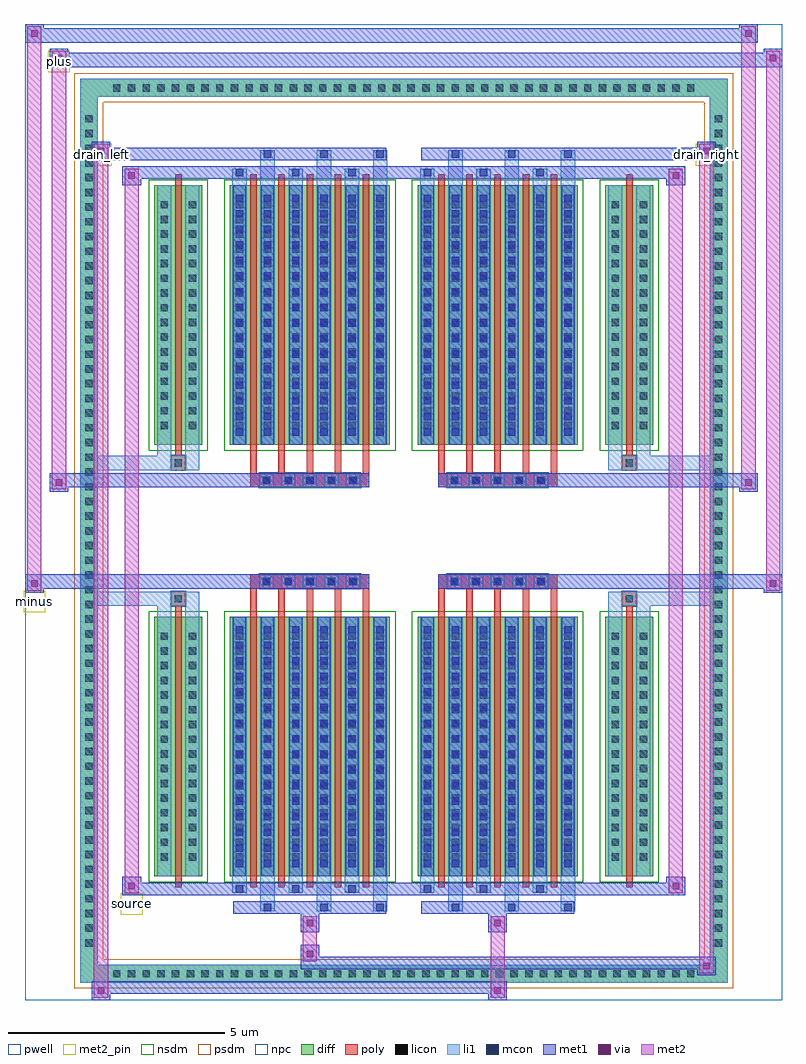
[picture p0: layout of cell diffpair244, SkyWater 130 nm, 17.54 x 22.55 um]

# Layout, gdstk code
import gdstk
lib = gdstk.Library(unit=1e-6, precision=5e-09)
def R(c, l, rs):  # rectangles x0, y0, x1, y1
    for r in rs: c.add(gdstk.rectangle(r[:2], r[2:], *l))
def A(c, l, x, y, w, h, nx, ny, dx, dy):  # array of equal rectangles
    R(c, l, [(x+i*dx, y+j*dy, x+i*dx+w, y+j*dy+h) for i in range(nx) for j in range(ny)])
def P(c, l, *ps):  # polygons
    for p in ps: c.add(gdstk.Polygon(p, *l))
pwell = (64, 44)
diff = (65, 20)
poly = (66, 20)
licon = (66, 44)
li1 = (67, 20)
mcon = (67, 44)
met1 = (68, 20)
via = (68, 44)
met2_pin = (69, 16)
met2 = (69, 20)
nsdm = (93, 44)
psdm = (94, 20)
npc = (95, 20)

diffpair244 = lib.new_cell('diffpair244')
R(diffpair244, pwell, [(-8.75,-10.84,8.75,11.71), (-6.07,-9.03,-0.01,-0.805), (0.01,-9.03,6.07,-0.805), (-6.07,0.805,-0.01,9.03), (0.01,0.805,6.07,9.03)])
A(diffpair244, diff, -6.835, -10.44, 0.41, 0.41, 40, 2, 0.34, 20.47)
A(diffpair244, diff, -7.48, -9.725, 0.41, 0.41, 1, 57, 0, 0.34)
A(diffpair244, diff, 7.07, -9.725, 0.41, 0.41, 1, 57, 0, 0.34)
R(diffpair244, diff, [(-6.835,-10.44,6.835,-10.03), (-7.48,-9.725,-7.07,9.725), (7.07,-9.725,7.48,9.725), (-5.76,-7.985,-4.66,-1.985), (-4.02,-7.985,-0.32,-1.985), (0.32,-7.985,4.02,-1.985), (4.66,-7.985,5.76,-1.985), (-5.76,1.985,-4.66,7.985), (-4.02,1.985,-0.32,7.985), (0.32,1.985,4.02,7.985), (4.66,1.985,5.76,7.985), (-6.835,10.03,6.835,10.44)])
P(diffpair244, diff, [(7.48,10.44),(-7.48,10.44),(-7.48,-10.03),(-7.07,-10.03),(-7.07,10.03),(7.07,10.03),(7.07,-10.03),(-7.07,-10.03),(-7.48,-10.03),(-7.48,-10.44),(7.48,-10.44)])
A(diffpair244, poly, -3.545, -8.235, 0.15, 6.5, 5, 2, 0.65, 9.97)
A(diffpair244, poly, 0.795, -8.235, 0.15, 6.5, 5, 2, 0.65, 9.97)
A(diffpair244, poly, -3.545, -1.735, 0.15, 0.4, 5, 2, 0.65, 3.07)
A(diffpair244, poly, 0.795, -1.735, 0.15, 0.4, 5, 2, 0.65, 3.07)
A(diffpair244, poly, -3.335, -1.335, 0.33, 0.33, 5, 2, 0.5, 2.34)
A(diffpair244, poly, 1.005, -1.335, 0.33, 0.33, 5, 2, 0.5, 2.34)
R(diffpair244, poly, [(-5.285,-8.235,-5.135,-1.735), (5.135,-8.235,5.285,-1.735), (-5.375,-1.735,-5.045,-1.405), (-5.375,-1.735,-5.045,-1.405), (5.045,-1.735,5.375,-1.405), (5.045,-1.735,5.375,-1.405), (-3.545,-1.335,-0.795,-1.005), (0.795,-1.335,3.545,-1.005), (-3.545,1.005,-0.795,1.335), (0.795,1.005,3.545,1.335), (-5.375,1.405,-5.045,1.735), (-5.375,1.405,-5.045,1.735), (5.045,1.405,5.375,1.735), (5.045,1.405,5.375,1.735), (-5.285,1.735,-5.135,8.235), (5.135,1.735,5.285,8.235)])
A(diffpair244, licon, -6.715, -10.32, 0.17, 0.17, 40, 2, 0.34, 20.47)
A(diffpair244, licon, -7.36, -9.605, 0.17, 0.17, 1, 57, 0, 0.34)
A(diffpair244, licon, 7.19, -9.605, 0.17, 0.17, 1, 57, 0, 0.34)
A(diffpair244, licon, -5.62, -7.62, 0.17, 0.17, 1, 16, 0, 0.34)
A(diffpair244, licon, -4.97, -7.62, 0.17, 0.17, 1, 16, 0, 0.34)
A(diffpair244, licon, -3.88, -7.62, 0.17, 0.17, 6, 16, 0.65, 0.34)
A(diffpair244, licon, 0.46, -7.62, 0.17, 0.17, 6, 16, 0.65, 0.34)
A(diffpair244, licon, 4.8, -7.62, 0.17, 0.17, 1, 16, 0, 0.34)
A(diffpair244, licon, 5.45, -7.62, 0.17, 0.17, 1, 16, 0, 0.34)
A(diffpair244, licon, -3.255, -1.255, 0.17, 0.17, 5, 2, 0.5, 2.34)
A(diffpair244, licon, 1.085, -1.255, 0.17, 0.17, 5, 2, 0.5, 2.34)
A(diffpair244, licon, -5.62, 2.35, 0.17, 0.17, 1, 16, 0, 0.34)
A(diffpair244, licon, -4.97, 2.35, 0.17, 0.17, 1, 16, 0, 0.34)
A(diffpair244, licon, -3.88, 2.35, 0.17, 0.17, 6, 16, 0.65, 0.34)
A(diffpair244, licon, 0.46, 2.35, 0.17, 0.17, 6, 16, 0.65, 0.34)
A(diffpair244, licon, 4.8, 2.35, 0.17, 0.17, 1, 16, 0, 0.34)
A(diffpair244, licon, 5.45, 2.35, 0.17, 0.17, 1, 16, 0, 0.34)
R(diffpair244, licon, [(-5.295,-1.655,-5.125,-1.485), (5.125,-1.655,5.295,-1.485), (-5.295,1.485,-5.125,1.655), (5.125,1.485,5.295,1.655)])
A(diffpair244, li1, -6.795, -10.4, 0.33, 0.33, 40, 2, 0.34, 20.47)
A(diffpair244, li1, -7.44, -9.685, 0.33, 0.33, 1, 57, 0, 0.34)
A(diffpair244, li1, 7.11, -9.685, 0.33, 0.33, 1, 57, 0, 0.34)
A(diffpair244, li1, -3.31, -8.79, 0.33, 0.805, 3, 2, 1.3, 16.775)
A(diffpair244, li1, -3.23, -8.79, 0.17, 0.17, 3, 2, 1.3, 17.41)
A(diffpair244, li1, 1.03, -8.79, 0.33, 0.805, 3, 2, 1.3, 16.775)
A(diffpair244, li1, 1.11, -8.79, 0.17, 0.17, 3, 2, 1.3, 17.41)
A(diffpair244, li1, -3.96, -8.36, 0.33, 0.375, 3, 2, 1.3, 16.345)
A(diffpair244, li1, -3.88, -8.36, 0.17, 0.17, 3, 2, 1.3, 16.55)
A(diffpair244, li1, 0.38, -8.36, 0.33, 0.375, 3, 2, 1.3, 16.345)
A(diffpair244, li1, 0.46, -8.36, 0.17, 0.17, 3, 2, 1.3, 16.55)
A(diffpair244, li1, -3.96, -7.985, 0.33, 6, 6, 2, 0.65, 9.97)
A(diffpair244, li1, 0.38, -7.985, 0.33, 6, 6, 2, 0.65, 9.97)
A(diffpair244, li1, -3.88, -7.77, 0.17, 0.17, 6, 16, 0.65, 0.36)
A(diffpair244, li1, -3.88, -7.77, 0.17, 5.57, 6, 2, 0.65, 9.97)
A(diffpair244, li1, 0.46, -7.77, 0.17, 0.17, 6, 16, 0.65, 0.36)
A(diffpair244, li1, 0.46, -7.77, 0.17, 5.57, 6, 2, 0.65, 9.97)
A(diffpair244, li1, -5.7, -7.7, 0.33, 0.33, 1, 16, 0, 0.34)
A(diffpair244, li1, -5.05, -7.7, 0.33, 0.33, 1, 16, 0, 0.34)
A(diffpair244, li1, -3.96, -7.7, 0.33, 0.33, 6, 16, 0.65, 0.34)
A(diffpair244, li1, 0.38, -7.7, 0.33, 0.33, 6, 16, 0.65, 0.34)
A(diffpair244, li1, 4.72, -7.7, 0.33, 0.33, 1, 16, 0, 0.34)
A(diffpair244, li1, 5.37, -7.7, 0.33, 0.33, 1, 16, 0, 0.34)
A(diffpair244, li1, -3.335, -1.335, 0.33, 0.33, 5, 2, 0.5, 2.34)
A(diffpair244, li1, 1.005, -1.335, 0.33, 0.33, 5, 2, 0.5, 2.34)
A(diffpair244, li1, -3.88, 2.2, 0.17, 0.17, 6, 16, 0.65, 0.36)
A(diffpair244, li1, 0.46, 2.2, 0.17, 0.17, 6, 16, 0.65, 0.36)
A(diffpair244, li1, -5.7, 2.27, 0.33, 0.33, 1, 16, 0, 0.34)
A(diffpair244, li1, -5.05, 2.27, 0.33, 0.33, 1, 16, 0, 0.34)
A(diffpair244, li1, -3.96, 2.27, 0.33, 0.33, 6, 16, 0.65, 0.34)
A(diffpair244, li1, 0.38, 2.27, 0.33, 0.33, 6, 16, 0.65, 0.34)
A(diffpair244, li1, 4.72, 2.27, 0.33, 0.33, 1, 16, 0, 0.34)
A(diffpair244, li1, 5.37, 2.27, 0.33, 0.33, 1, 16, 0, 0.34)
R(diffpair244, li1, [(-7.48,-10.44,-7.07,-10.03), (-7.48,-10.44,-7.07,-10.03), (-7.07,-10.44,7.07,-10.03), (7.07,-10.44,7.48,-10.03), (7.07,-10.44,7.48,-10.03), (-7.48,-10.03,-7.07,10.03), (7.07,-10.03,7.48,10.03), (-5.7,-7.985,-5.37,-1.985), (-5.05,-7.985,-4.72,-1.985), (4.72,-7.985,5.05,-1.985), (5.37,-7.985,5.7,-1.985), (-5.7,-1.985,-5.37,-1.405), (-5.05,-1.985,-4.72,-1.405), (4.72,-1.985,5.05,-1.405), (5.37,-1.985,5.7,-1.405), (-7.48,-1.735,-5.375,-1.405), (-5.7,-1.735,-5.375,-1.405), (-5.375,-1.735,-5.045,-1.405), (-5.045,-1.735,-4.72,-1.405), (4.72,-1.735,5.045,-1.405), (5.045,-1.735,5.375,-1.405), (5.045,-1.735,7.48,-1.405), (5.375,-1.735,5.7,-1.405), (-7.48,1.405,-5.375,1.735), (-5.7,1.405,-5.375,1.735), (-5.7,1.405,-5.37,1.985), (-5.375,1.405,-5.045,1.735), (-5.05,1.405,-4.72,1.985), (-5.045,1.405,-4.72,1.735), (4.72,1.405,5.045,1.735), (4.72,1.405,5.05,1.985), (5.045,1.405,5.375,1.735), (5.045,1.405,7.48,1.735), (5.37,1.405,5.7,1.985), (5.375,1.405,5.7,1.735), (-5.7,1.985,-5.37,7.985), (-5.05,1.985,-4.72,7.985), (4.72,1.985,5.05,7.985), (5.37,1.985,5.7,7.985), (-7.48,10.03,-7.07,10.44), (-7.48,10.03,-7.07,10.44), (-7.07,10.03,7.07,10.44), (7.07,10.03,7.48,10.44), (7.07,10.03,7.48,10.44)])
A(diffpair244, mcon, -3.23, -8.79, 0.17, 0.17, 3, 2, 1.3, 17.41)
A(diffpair244, mcon, 1.11, -8.79, 0.17, 0.17, 3, 2, 1.3, 17.41)
A(diffpair244, mcon, -3.88, -8.36, 0.17, 0.17, 3, 2, 1.3, 16.55)
A(diffpair244, mcon, 0.46, -8.36, 0.17, 0.17, 3, 2, 1.3, 16.55)
A(diffpair244, mcon, -3.88, -7.77, 0.17, 0.17, 6, 16, 0.65, 0.36)
A(diffpair244, mcon, 0.46, -7.77, 0.17, 0.17, 6, 16, 0.65, 0.36)
A(diffpair244, mcon, -3.255, -1.255, 0.17, 0.17, 5, 2, 0.5, 2.34)
A(diffpair244, mcon, 1.085, -1.255, 0.17, 0.17, 5, 2, 0.5, 2.34)
A(diffpair244, mcon, -3.88, 2.2, 0.17, 0.17, 6, 16, 0.65, 0.36)
A(diffpair244, mcon, 0.46, 2.2, 0.17, 0.17, 6, 16, 0.65, 0.36)
A(diffpair244, met1, -3.29, -8.85, 0.29, 0.29, 3, 2, 1.3, 17.41)
A(diffpair244, met1, 1.05, -8.85, 0.29, 0.29, 3, 2, 1.3, 17.41)
A(diffpair244, met1, -3.94, -8.42, 0.29, 0.29, 3, 2, 1.3, 16.55)
A(diffpair244, met1, 0.4, -8.42, 0.29, 0.29, 3, 2, 1.3, 16.55)
A(diffpair244, met1, -3.94, -7.985, 0.29, 6, 6, 2, 0.65, 9.97)
A(diffpair244, met1, 0.4, -7.985, 0.29, 6, 6, 2, 0.65, 9.97)
A(diffpair244, met1, -3.94, -7.83, 0.29, 0.29, 6, 16, 0.65, 0.36)
A(diffpair244, met1, 0.4, -7.83, 0.29, 0.29, 6, 16, 0.65, 0.36)
A(diffpair244, met1, -3.315, -1.315, 0.29, 0.29, 5, 2, 0.5, 2.34)
A(diffpair244, met1, 1.025, -1.315, 0.29, 0.29, 5, 2, 0.5, 2.34)
A(diffpair244, met1, -3.94, 2.14, 0.29, 0.29, 6, 16, 0.65, 0.36)
A(diffpair244, met1, 0.4, 2.14, 0.29, 0.29, 6, 16, 0.65, 0.36)
R(diffpair244, met1, [(-7.21,-10.84,-6.78,-10.41), (1.955,-10.84,2.385,-10.41), (-7.21,-10.7,2.385,-10.41), (6.78,-10.27,7.21,-9.84), (-2.385,-10.13,7.21,-9.84), (-2.385,-9.99,-1.955,-9.56), (-2.385,-9.28,-1.955,-8.85), (1.955,-9.28,2.385,-8.85), (-3.94,-8.85,-0.4,-8.56), (0.4,-8.85,3.94,-8.56), (-6.5,-8.42,-6.07,-7.99), (-6.5,-8.42,-3.94,-8.13), (-3.94,-8.42,-0.4,-8.13), (-0.4,-8.42,0.4,-8.13), (0.4,-8.42,3.94,-8.13), (3.94,-8.42,6.5,-8.13), (6.07,-8.42,6.5,-7.99), (-8.75,-1.435,-8.32,-1.005), (8.32,-1.435,8.75,-1.005), (-8.75,-1.335,-0.795,-1.005), (-3.545,-1.335,-0.795,-1.005), (0.795,-1.335,3.545,-1.005), (0.795,-1.335,8.75,-1.005), (-8.18,0.905,-7.75,1.335), (7.75,0.905,8.18,1.335), (-8.18,1.005,-3.545,1.335), (-3.545,1.005,-0.795,1.335), (0.795,1.005,3.545,1.335), (3.545,1.005,8.18,1.335), (-6.5,7.99,-6.07,8.42), (6.07,7.99,6.5,8.42), (-6.5,8.13,-3.94,8.42), (-3.94,8.13,-0.4,8.42), (-0.4,8.13,0.4,8.42), (0.4,8.13,3.94,8.42), (3.94,8.13,6.5,8.42), (-7.21,8.56,-6.78,8.99), (-7.21,8.56,-3.94,8.85), (-3.94,8.56,-0.4,8.85), (0.4,8.56,3.94,8.85), (3.94,8.56,7.21,8.85), (6.78,8.56,7.21,8.99), (-8.18,10.71,-7.75,11.14), (-8.18,10.71,-6.07,11.04), (-6.07,10.71,6.07,11.04), (6.07,10.71,8.75,11.04), (8.32,10.71,8.75,11.14), (-8.75,11.28,-8.32,11.71), (-8.75,11.28,-6.07,11.61), (-6.07,11.28,6.07,11.61), (6.07,11.28,8.18,11.61), (7.75,11.28,8.18,11.71)])
R(diffpair244, via, [(-7.07,-10.7,-6.92,-10.55), (2.095,-10.7,2.245,-10.55), (6.92,-10.13,7.07,-9.98), (-2.245,-9.85,-2.095,-9.7), (-2.245,-9.14,-2.095,-8.99), (2.095,-9.14,2.245,-8.99), (-6.36,-8.28,-6.21,-8.13), (6.21,-8.28,6.36,-8.13), (-8.61,-1.295,-8.46,-1.145), (8.46,-1.295,8.61,-1.145), (-8.04,1.045,-7.89,1.195), (7.89,1.045,8.04,1.195), (-6.36,8.13,-6.21,8.28), (6.21,8.13,6.36,8.28), (-7.07,8.7,-6.92,8.85), (6.92,8.7,7.07,8.85), (-8.04,10.85,-7.89,11), (8.46,10.85,8.61,11), (-8.61,11.42,-8.46,11.57), (7.89,11.42,8.04,11.57)])
R(diffpair244, met2_pin, [(-6.535,-8.87,-6.035,-8.37), (-8.785,-1.885,-8.285,-1.385), (-7.245,8.44,-6.745,8.94), (6.745,8.44,7.245,8.94), (-8.215,10.59,-7.715,11.09)])
R(diffpair244, met2, [(-7.16,-10.79,-6.83,-10.46), (-7.16,-10.79,-6.83,8.94), (2.005,-10.79,2.335,-10.46), (2.005,-10.46,2.335,-9.23), (6.83,-10.22,7.16,-9.89), (6.83,-10.22,7.16,8.94), (-2.335,-9.94,-2.005,-9.61), (-2.335,-9.61,-2.005,-9.23), (-2.335,-9.23,-2.005,-8.9), (2.005,-9.23,2.335,-8.9), (-6.45,-8.37,-6.12,-8.04), (-6.45,-8.37,-6.12,8.37), (6.12,-8.37,6.45,-8.04), (6.12,-8.37,6.45,8.37), (-8.7,-1.385,-8.37,-1.055), (-8.7,-1.385,-8.37,11.66), (8.37,-1.385,8.7,-1.055), (8.37,-1.385,8.7,11.09), (-8.13,0.955,-7.8,1.285), (-8.13,0.955,-7.8,11.09), (7.8,0.955,8.13,1.285), (7.8,0.955,8.13,11.66), (-6.45,8.04,-6.12,8.37), (6.12,8.04,6.45,8.37), (-7.16,8.61,-6.83,8.94), (6.83,8.61,7.16,8.94), (-8.13,10.76,-7.8,11.09), (8.37,10.76,8.7,11.09), (-8.7,11.33,-8.37,11.66), (7.8,11.33,8.13,11.66)])
P(diffpair244, met2, [(8.7,-1.385),(8.7,-1.385),(8.7,-1.055),(8.7,-1.055)],
  [(8.7,10.76),(8.7,10.76),(8.7,11.09),(8.7,11.09)],
  [(-8.37,-1.385),(-8.37,-1.385),(-8.37,-1.055),(-8.37,-1.055)],
  [(-8.37,11.33),(-8.37,11.33),(-8.37,11.66),(-8.37,11.66)],
  [(8.13,0.955),(8.13,0.955),(8.13,1.285),(8.13,1.285)],
  [(8.13,11.33),(8.13,11.33),(8.13,11.66),(8.13,11.66)],
  [(-7.8,0.955),(-7.8,0.955),(-7.8,1.285),(-7.8,1.285)],
  [(-7.8,10.76),(-7.8,10.76),(-7.8,11.09),(-7.8,11.09)],
  [(-6.83,-10.79),(-6.83,-10.79),(-6.83,-10.46),(-6.83,-10.46)],
  [(-6.83,8.61),(-6.83,8.61),(-6.83,8.94),(-6.83,8.94)],
  [(7.16,-10.22),(7.16,-10.22),(7.16,-9.89),(7.16,-9.89)],
  [(7.16,8.61),(7.16,8.61),(7.16,8.94),(7.16,8.94)],
  [(-6.12,-8.37),(-6.12,-8.37),(-6.12,-8.04),(-6.12,-8.04)],
  [(-6.12,8.04),(-6.12,8.04),(-6.12,8.37),(-6.12,8.37)],
  [(6.45,-8.37),(6.45,-8.37),(6.45,-8.04),(6.45,-8.04)],
  [(6.45,8.04),(6.45,8.04),(6.45,8.37),(6.45,8.37)])
R(diffpair244, nsdm, [(-5.89,-8.115,-4.53,-1.855), (-4.15,-8.115,-0.19,-1.855), (0.19,-8.115,4.15,-1.855), (4.53,-8.115,5.89,-1.855), (-5.89,1.855,-4.53,8.115), (-4.15,1.855,-0.19,8.115), (0.19,1.855,4.15,8.115), (4.53,1.855,5.89,8.115)])
P(diffpair244, psdm, [(7.61,10.57),(-7.61,10.57),(-7.61,-9.9),(-6.94,-9.9),(-6.94,9.9),(6.94,9.9),(6.94,-9.9),(-6.94,-9.9),(-7.61,-9.9),(-7.61,-10.57),(7.61,-10.57)])
A(diffpair244, npc, -3.355, -1.355, 0.37, 0.37, 5, 2, 0.5, 2.34)
A(diffpair244, npc, 0.985, -1.355, 0.37, 0.37, 5, 2, 0.5, 2.34)
R(diffpair244, npc, [(-5.395,-1.755,-5.025,-1.385), (5.025,-1.755,5.395,-1.385), (-3.355,-1.355,-2.485,-0.985), (-3.355,-1.355,-2.485,-0.985), (-2.855,-1.355,-1.985,-0.985), (-2.855,-1.355,-1.985,-0.985), (-2.355,-1.355,-1.485,-0.985), (-2.355,-1.355,-1.485,-0.985), (-1.855,-1.355,-0.985,-0.985), (-1.855,-1.355,-0.985,-0.985), (0.985,-1.355,1.855,-0.985), (0.985,-1.355,1.855,-0.985), (1.485,-1.355,2.355,-0.985), (1.485,-1.355,2.355,-0.985), (1.985,-1.355,2.855,-0.985), (1.985,-1.355,2.855,-0.985), (2.485,-1.355,3.355,-0.985), (2.485,-1.355,3.355,-0.985), (-3.355,0.985,-2.485,1.355), (-3.355,0.985,-2.485,1.355), (-2.855,0.985,-1.985,1.355), (-2.855,0.985,-1.985,1.355), (-2.355,0.985,-1.485,1.355), (-2.355,0.985,-1.485,1.355), (-1.855,0.985,-0.985,1.355), (-1.855,0.985,-0.985,1.355), (0.985,0.985,1.855,1.355), (0.985,0.985,1.855,1.355), (1.485,0.985,2.355,1.355), (1.485,0.985,2.355,1.355), (1.985,0.985,2.855,1.355), (1.985,0.985,2.855,1.355), (2.485,0.985,3.355,1.355), (2.485,0.985,3.355,1.355), (-5.395,1.385,-5.025,1.755), (5.025,1.385,5.395,1.755)])
diffpair244.add(gdstk.Label('minus', (-8.535,-1.635), layer=69, texttype=5))
diffpair244.add(gdstk.Label('drain_right', (6.995,8.69), layer=69, texttype=5))
diffpair244.add(gdstk.Label('drain_left', (-6.995,8.69), layer=69, texttype=5))
diffpair244.add(gdstk.Label('source', (-6.285,-8.62), layer=69, texttype=5))
diffpair244.add(gdstk.Label('plus', (-7.965,10.84), layer=69, texttype=5))

lib.write_gds('diffpair244.gds')
